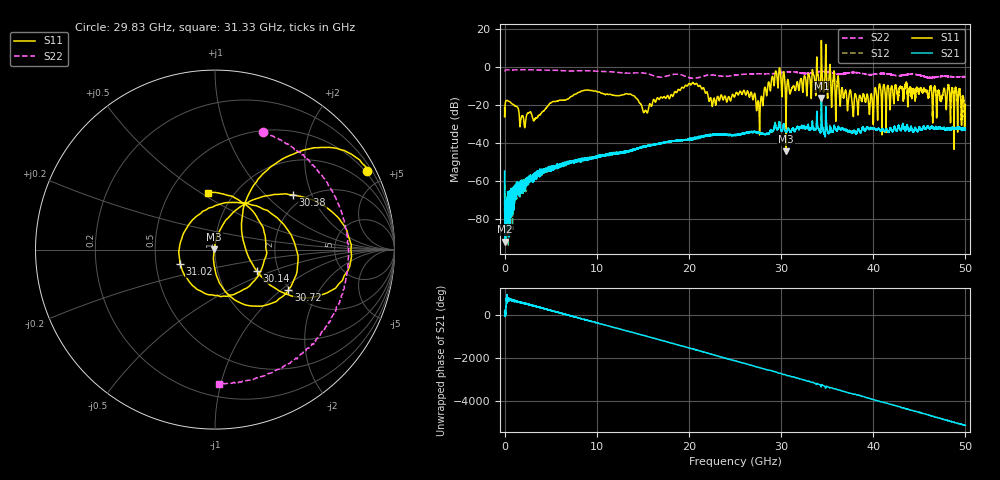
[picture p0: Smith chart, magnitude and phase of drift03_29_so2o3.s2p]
!Created with skrf (http://scikit-rf.org).
# Hz S RI R 50.0
!freq ReS11 ImS11 ReS21 ImS21 ReS12 ImS12 ReS22 ImS22
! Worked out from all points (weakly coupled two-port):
!   10001 points, 300 kHz to 50 GHz, reference 50 ohm
!   highest |S21| = -16.48 dB at 34.37 GHz (marker M1); lowest = -92.1 dB at 35.3 MHz (marker M2)
!   lowest |S11| = -44.5 dB at 30.53 GHz (marker M3), VSWR 1.01, Z = 49.5 + j0.246 ohm
!   |S11| at or under -10 dB: start of sweep to 19.55 GHz; 21.25 GHz to 28.55 GHz (7.296 GHz wide, 29.3 % of centre); 36.28 GHz to 40.62 GHz (4.337 GHz wide, 11.3 % of centre) (the widest 3 of 36)
!   |S22| runs from -5.9 to -1.3 dB; largest |S21 - S12| = 0.029
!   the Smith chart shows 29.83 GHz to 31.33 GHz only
!   S11 on the Smith chart (normalised r, x): 29.83 GHz: 0.42, +4.07; 30.14 GHz: 1.54, -0.39; 30.38 GHz: 1.74, +1.47; 30.72 GHz: 1.96, -1.12; 31.02 GHz: 0.67, -0.11; 31.33 GHz: 0.76, +0.54
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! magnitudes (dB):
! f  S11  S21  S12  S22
! 300 kHz  -21.6  -54.9  -61.9  -2.1
! 35.3 MHz  -21.8  -92.1  -73.3  -1.8
! 255.3 MHz  -17.6  -72.8  -75.0  -1.4
! 3.3 GHz  -27.3  -55.9  -57.7  -1.5
! 8.335 GHz  -12.6  -49.4  -48.9  -1.9
! 15.28 GHz  -22.8  -41.9  -41.9  -3.3
! 16.67 GHz  -16.5  -40.5  -40.5  -5.2
! 20.26 GHz  -9.1  -38.1  -38.0  -5.8
! 25 GHz  -15.2  -36.0  -35.7  -4.3
! 27.53 GHz  -17.9  -34.4  -34.5  -3.5
! 29.83 GHz  -0.4  -29.3  -28.5  -3.0
! 30.14 GHz  -11.7  -33.3  -33.5  -2.8
! 30.38 GHz  -5.5  -32.0  -32.5  -2.6
! 30.53 GHz  -44.5  -34.2  -34.1  -2.6
! 30.72 GHz  -6.6  -32.9  -32.7  -2.5
! 31.02 GHz  -13.5  -34.2  -34.3  -2.4
! 31.33 GHz  -9.9  -32.3  -32.4  -2.5
! 33.34 GHz  -7.3  -31.1  -31.2  -2.9
! 34.37 GHz  14.1  -16.5  -17.9  -2.2
! 37.85 GHz  -26.0  -33.9  -34.3  -2.8
! 41.67 GHz  -11.5  -34.4  -34.1  -3.7
! 50 GHz  -19.8  -33.0  -33.0  -5.0
